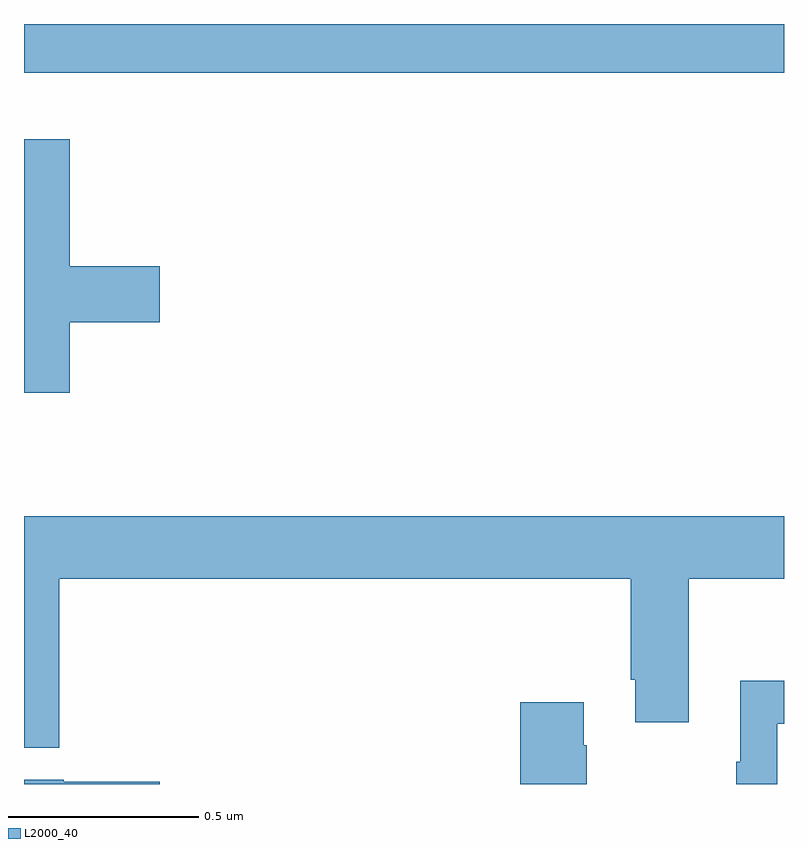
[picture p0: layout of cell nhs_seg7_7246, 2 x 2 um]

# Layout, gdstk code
import gdstk
lib = gdstk.Library(unit=1e-6, precision=1e-09)
def R(c, l, rs):  # rectangles x0, y0, x1, y1
    for r in rs: c.add(gdstk.rectangle(r[:2], r[2:], *l))
def P(c, l, *ps):  # polygons
    for p in ps: c.add(gdstk.Polygon(p, *l))
L2000_40 = (2000, 40)

nhs_seg7_7246 = lib.new_cell('nhs_seg7_7246')
R(nhs_seg7_7246, L2000_40, [(208,1077.872,210,1078)])
P(nhs_seg7_7246, L2000_40, [(208.121,1077.215),(208.357,1077.215),(208.357,1077.362),(208.121,1077.362),(208.121,1077.697),(208,1077.697),(208,1077.03),(208.121,1077.03)],
  [(208.093,1076.54),(209.597,1076.54),(209.597,1076.275),(209.609,1076.275),(209.609,1076.163),(209.749,1076.163),(209.749,1076.54),(210,1076.54),(210,1076.704),(208,1076.704),(208,1076.096),(208.093,1076.096)],
  [(209.982,1076.159),(210,1076.159),(210,1076.272),(209.885,1076.272),(209.885,1076.059),(209.874,1076.059),(209.874,1076),(209.982,1076)],
  [(209.481,1076.102),(209.473,1076.102),(209.473,1076.215),(209.306,1076.215),(209.306,1076),(209.481,1076)],
  [(208.357,1076.006),(208.104,1076.006),(208.104,1076.011),(208,1076.011),(208,1076),(208.357,1076)])

lib.write_gds('nhs_seg7_7246.gds')
